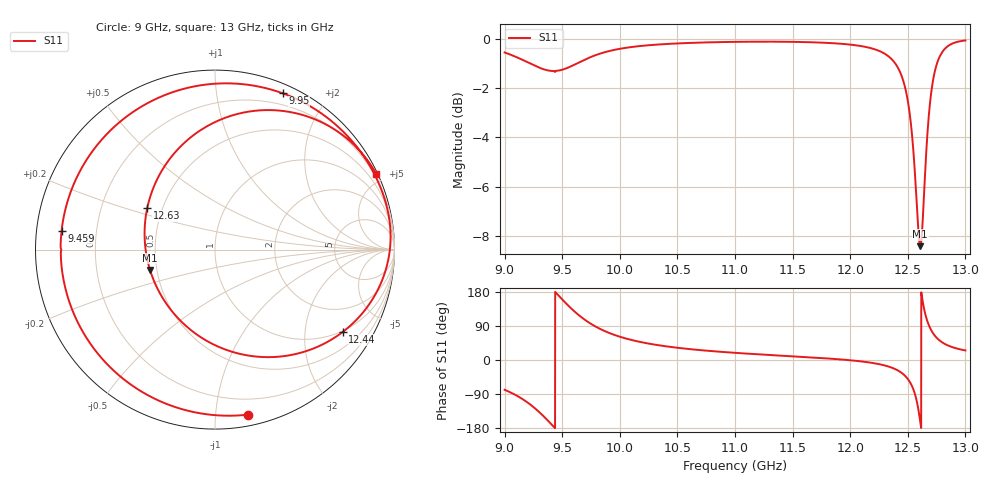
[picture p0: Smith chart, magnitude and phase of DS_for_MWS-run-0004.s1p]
! TOUCHSTONE file generated by CST DESIGN STUDIO
! Date and time: Tue Feb  4 16:12:19 2025
! Project name: C:\Work\MatlabApps\UnitCellOptimizationMatlab\CST\unitcell.cst
! Tree item: Tasks\Sweep1\SPara1\S-Parameters
! Header version: 2024
! Port assignment regex: !\s*Touchstone port\s*([0-9]+)\s*=\s*(CST MWS port|CST DES external port|CST DES block port)\s*(.+)\s* \(\"(.*)\"\)(\s*mode\s*([0-9]+))?.*
! Touchstone port assignment:
! Touchstone port 1 = CST DES external port 1 ("")
# GHz S MA R 50
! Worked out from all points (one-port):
!   4001 points, 9 GHz to 13 GHz, reference 50 ohm
!   lowest |S11| = -8.4 dB at 12.61 GHz (marker M1), VSWR 2.22, Z = 22.9 - j6.06 ohm
!   |S11| at or under -10 dB: nowhere
!   S11 on the Smith chart (normalised r, x): 9 GHz: 0.08, -1.22; 9.459 GHz: 0.07, +0.06; 9.95 GHz: 0.09, +1.52; 12.44 GHz: 0.96, -3.13; 12.63 GHz: 0.41, +0.24; 13 GHz: 0.08, +4.47
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9  0.9379 -78.6
9.137  0.9102 -99.7
9.243  0.8859 -122.4
9.365  0.8636 -156.5
9.459  0.8612 173.2
9.5  0.8652 159.8
9.596  0.8835 131.0
9.69  0.9056 107.6
9.799  0.9278 86.7
9.95  0.949 66.5
10  0.954 61.4
10.214  0.9685 45.4
10.5  0.9783 32.3
11  0.9856 18.9
11.5  0.9855 9.7
12  0.973 -0.7
12.296  0.9335 -14.1
12.441  0.847 -32.8
12.5  0.7484 -50.1
12.56  0.542 -87.9
12.583  0.4396 -116.2
12.608  0.3793 -162.6
12.633  0.4433 148.3
12.673  0.6546 99.6
12.717  0.8181 71.6
12.765  0.9068 54.4
12.822  0.9543 42.3
13  0.992 25.2
